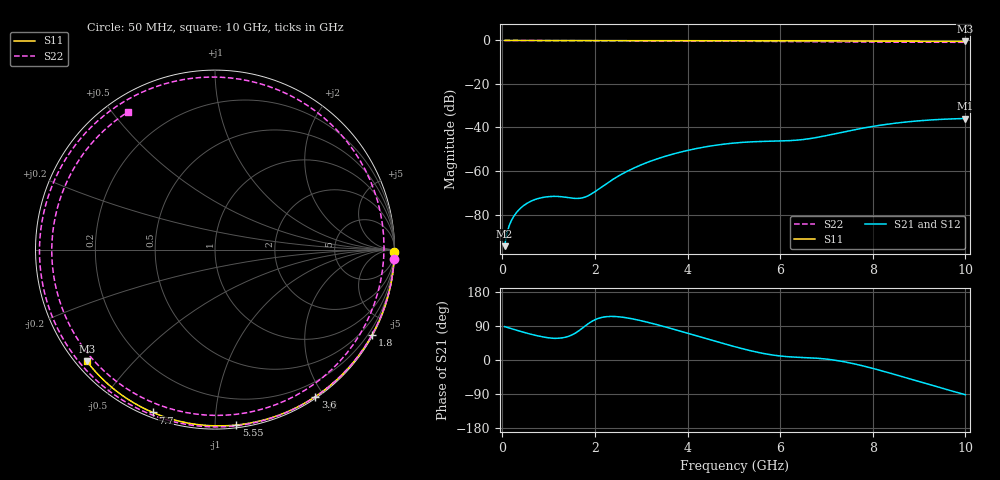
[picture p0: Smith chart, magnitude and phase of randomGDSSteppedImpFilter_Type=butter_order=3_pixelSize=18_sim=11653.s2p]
! freq	dB(S11)	phase(S11)	dB(S12)	phase(S12)
!  dB(S21)	phase(S21)	dB(S22)	phase(S22)
!S-par simulation data
#  GHz  S  DB  R 50
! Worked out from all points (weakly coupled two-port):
!   200 points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, 50 MHz to 10 GHz, reference 50 ohm
!   highest |S21| = -35.87 dB at 10 GHz (marker M1); lowest = -94.5 dB at 50 MHz (marker M2)
!   lowest |S11| = -0.5 dB at 10 GHz (marker M3), VSWR 36.86, Z = 1.55 - j18.7 ohm
!   |S11| at or under -10 dB: nowhere
!   |S22| runs from -0.8 to 0.0 dB; largest |S21 - S12| = 0
!   S11 on the Smith chart (normalised r, x): 50 MHz: open; 1.8 GHz: 0.03, -3.94; 3.6 GHz: 0.02, -1.89; 5.55 GHz: 0.02, -1.13; 7.7 GHz: 0.02, -0.69; 10 GHz: 0.03, -0.37
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0.05  -0.00 -0.8  -94.54 88.1  -94.54 88.1  -0.00 -3.1
0.25  -0.01 -4.0  -80.75 80.7  -80.75 80.7  -0.02 -15.2
0.55  -0.01 -8.8  -74.65 70.2  -74.65 70.2  -0.05 -33.0
0.95  -0.02 -15.2  -71.90 59.4  -71.90 59.4  -0.07 -56.3
1.35  -0.03 -21.5  -72.01 59.7  -72.01 59.7  -0.09 -78.5
1.75  -0.04 -27.7  -72.22 86.0  -72.22 86.0  -0.12 -99.5
1.8  -0.04 -28.5  -71.87 90.7  -71.87 90.7  -0.12 -102.1
2.65  -0.05 -41.5  -60.64 112.0  -60.64 112.0  -0.16 -143.8
3.4  -0.07 -52.7  -54.03 91.3  -54.03 91.3  -0.19 -179.4
3.6  -0.08 -55.7  -52.72 84.6  -52.72 84.6  -0.21 170.9
4.3  -0.09 -65.8  -49.23 60.1  -49.23 60.1  -0.26 135.2
5.05  -0.12 -76.2  -47.07 34.1  -47.07 34.1  -0.34 91.3
5.55  -0.14 -83.1  -46.45 19.4  -46.45 19.4  -0.41 57.5
6.15  -0.16 -91.0  -46.10 8.8  -46.10 8.8  -0.50 12.6
6.4  -0.17 -94.3  -45.74 7.0  -45.74 7.0  -0.54 -7.0
6.7  -0.19 -98.2  -44.91 5.4  -44.91 5.4  -0.58 -30.5
7.2  -0.22 -104.6  -42.82 -0.8  -42.82 -0.8  -0.65 -68.4
7.7  -0.25 -110.9  -40.63 -13.0  -40.63 -13.0  -0.71 -103.5
8.35  -0.30 -118.9  -38.40 -33.9  -38.40 -33.9  -0.78 -145.0
8.75  -0.34 -123.8  -37.40 -47.9  -37.40 -47.9  -0.81 -168.6
9.15  -0.38 -128.7  -36.68 -62.2  -36.68 -62.2  -0.83 168.6
10  -0.47 -139.0  -35.87 -91.7  -35.87 -91.7  -0.84 122.1
